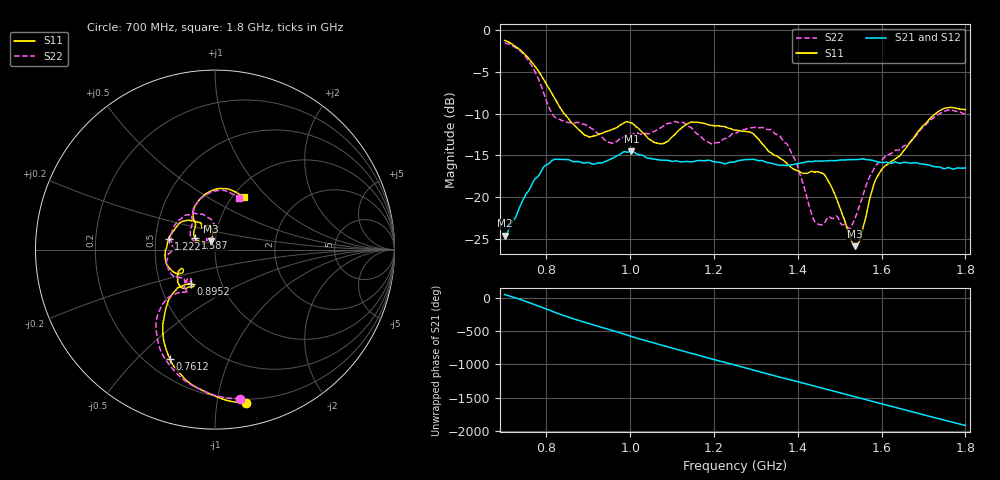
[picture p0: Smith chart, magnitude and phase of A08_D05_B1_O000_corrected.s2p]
! Created with skrf 1.9.0 (http://scikit-rf.org).
# Hz S RI R 50.0
!freq ReS11 ImS11 ReS21 ImS21 ReS12 ImS12 ReS22 ImS22
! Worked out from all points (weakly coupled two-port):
!   1601 points, 700 MHz to 1.8 GHz, reference 50 ohm
!   highest |S21| = -14.50 dB at 1.002 GHz (marker M1); lowest = -24.6 dB at 701.4 MHz (marker M2)
!   lowest |S11| = -25.9 dB at 1.535 GHz (marker M3), VSWR 1.11, Z = 47.6 + j4.34 ohm
!   |S11| at or under -10 dB: 842.3 MHz to 1.729 GHz (886.3 MHz wide, 68.9 % of centre)
!   |S22| runs from -23.8 to -1.5 dB; largest |S21 - S12| = 0.0035
!   S11 on the Smith chart (normalised r, x): 700 MHz: 0.17, -1.21; 761.2 MHz: 0.29, -0.63; 895.2 MHz: 0.72, -0.29; 1.222 GHz: 0.59, +0.08; 1.587 GHz: 0.79, +0.10; 1.8 GHz: 1.12, +0.74
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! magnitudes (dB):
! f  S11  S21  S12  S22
! 700 MHz  -1.2  -24.6  -24.4  -1.5
! 701.4 MHz  -1.2  -24.6  -24.2  -1.5
! 761.2 MHz  -3.6  -18.9  -18.8  -3.9
! 817.6 MHz  -8.0  -15.5  -15.6  -10.3
! 883.6 MHz  -12.2  -15.9  -15.8  -11.2
! 895.2 MHz  -12.6  -15.9  -16.0  -11.4
! 954.4 MHz  -11.9  -15.4  -15.4  -13.5
! 1.002 GHz  -11.1  -14.5  -14.6  -12.5
! 1.067 GHz  -13.6  -15.5  -15.5  -11.8
! 1.144 GHz  -11.0  -15.8  -15.8  -11.6
! 1.222 GHz  -11.5  -16.0  -16.0  -13.0
! 1.25 GHz  -12.0  -15.8  -15.7  -12.4
! 1.357 GHz  -15.3  -16.2  -16.1  -12.6
! 1.396 GHz  -16.8  -16.0  -16.0  -15.8
! 1.434 GHz  -16.9  -15.7  -15.7  -22.1
! 1.473 GHz  -18.1  -15.6  -15.6  -22.4
! 1.535 GHz  -25.9  -15.5  -15.5  -22.7
! 1.549 GHz  -25.0  -15.4  -15.5  -20.8
! 1.587 GHz  -17.8  -15.7  -15.7  -16.2
! 1.617 GHz  -16.0  -15.9  -15.8  -14.9
! 1.734 GHz  -9.8  -16.4  -16.4  -10.1
! 1.8 GHz  -9.5  -16.5  -16.5  -10.0
